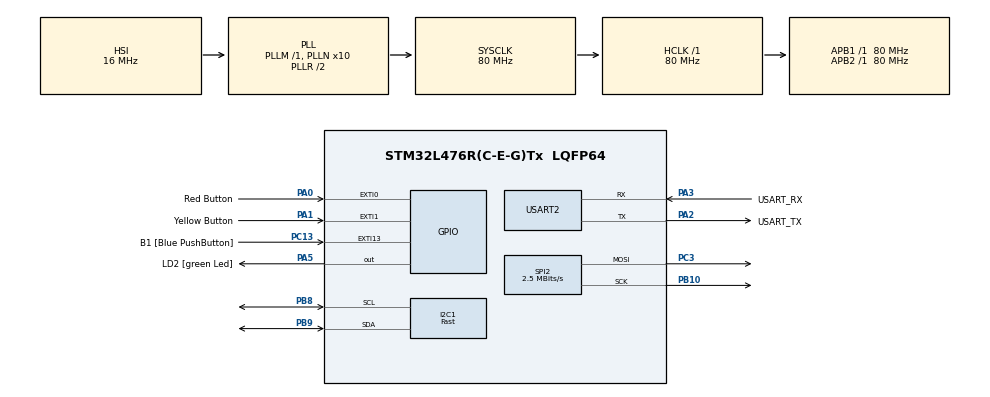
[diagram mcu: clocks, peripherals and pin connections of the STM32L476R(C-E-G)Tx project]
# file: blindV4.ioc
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Dma.Request0=SPI2_TX
Dma.SPI2_TX.0.Direction=DMA_MEMORY_TO_PERIPH
Dma.SPI2_TX.0.Instance=DMA1_Channel5
Dma.SPI2_TX.0.MemDataAlignment=DMA_MDATAALIGN_BYTE
Dma.SPI2_TX.0.MemInc=DMA_MINC_ENABLE
Dma.SPI2_TX.0.Mode=DMA_NORMAL
Dma.SPI2_TX.0.PeriphDataAlignment=DMA_PDATAALIGN_BYTE
Dma.SPI2_TX.0.PeriphInc=DMA_PINC_DISABLE
Dma.SPI2_TX.0.Priority=DMA_PRIORITY_VERY_HIGH
I2C1.I2C_Speed_Mode=I2C_Fast
I2C1.Timing=0x00702991
Mcu.Family=STM32L4
Mcu.Name=STM32L476R(C-E-G)Tx
Mcu.Package=LQFP64
NVIC.DMA1_Channel5_IRQn=true\:0\:0\:false\:false\:true\:false\:true
NVIC.EXTI0_IRQn=true\:0\:0\:false\:false\:true\:true\:true
NVIC.EXTI1_IRQn=true\:0\:0\:false\:false\:true\:true\:true
NVIC.PriorityGroup=NVIC_PRIORITYGROUP_4
PA0.GPIO_Label=Red Button
PA0.GPIO_PuPd=GPIO_PULLDOWN
PA0.Signal=GPXTI0
PA1.GPIO_Label=Yellow Button
PA1.GPIO_PuPd=GPIO_PULLDOWN
PA1.Signal=GPXTI1
PA13\ (JTMS-SWDIO).GPIO_Label=TMS
PA13\ (JTMS-SWDIO).Mode=Serial_Wire
PA13\ (JTMS-SWDIO).Signal=SYS_JTMS-SWDIO
PA14\ (JTCK-SWCLK).GPIO_Label=TCK
PA14\ (JTCK-SWCLK).Mode=Serial_Wire
PA14\ (JTCK-SWCLK).Signal=SYS_JTCK-SWCLK
PA2.GPIO_Label=USART_TX
PA2.GPIO_Mode=GPIO_MODE_AF_PP
PA2.GPIO_PuPd=GPIO_NOPULL
PA2.GPIO_Speed=GPIO_SPEED_FREQ_VERY_HIGH
PA2.Mode=Asynchronous
PA2.Signal=USART2_TX
PA3.GPIO_Label=USART_RX
PA3.GPIO_Mode=GPIO_MODE_AF_PP
PA3.GPIO_PuPd=GPIO_NOPULL
PA3.GPIO_Speed=GPIO_SPEED_FREQ_VERY_HIGH
PA3.Mode=Asynchronous
PA3.Signal=USART2_RX
PA5.GPIO_Label=LD2 [green Led]
PA5.GPIO_ModeDefaultOutputPP=GPIO_MODE_OUTPUT_PP
PA5.GPIO_PuPd=GPIO_NOPULL
PA5.GPIO_Speed=GPIO_SPEED_FREQ_LOW
PA5.Signal=GPIO_Output
PB10.Mode=TX_Only_Simplex_Unidirect_Master
PB10.Signal=SPI2_SCK
PB3\ (JTDO-TRACESWO).GPIO_Label=SWO
PB3\ (JTDO-TRACESWO).Signal=SYS_JTDO-SWO
PB8.Mode=I2C
PB8.Signal=I2C1_SCL
PB9.Mode=I2C
PB9.Signal=I2C1_SDA
PC13.GPIO_Label=B1 [Blue PushButton]
PC13.GPIO_ModeDefaultEXTI=GPIO_MODE_IT_FALLING
PC13.GPIO_PuPd=GPIO_NOPULL
PC13.Signal=GPXTI13
PC14-OSC32_IN\ (PC14).Mode=LSE-External-Oscillator
PC14-OSC32_IN\ (PC14).Signal=RCC_OSC32_IN
PC15-OSC32_OUT\ (PC15).Mode=LSE-External-Oscillator
PC15-OSC32_OUT\ (PC15).Signal=RCC_OSC32_OUT
PC3.Mode=TX_Only_Simplex_Unidirect_Master
PC3.Signal=SPI2_MOSI
PH0-OSC_IN\ (PH0).Signal=RCC_OSC_IN
PH1-OSC_OUT\ (PH1).Signal=RCC_OSC_OUT
ProjectManager.HeapSize=0x200
ProjectManager.StackSize=0x400
ProjectManager.TargetToolchain=TrueSTUDIO
RCC.ADCFreq_Value=64000000
RCC.AHBFreq_Value=80000000
RCC.APB1Freq_Value=80000000
RCC.APB1TimFreq_Value=80000000
RCC.APB2Freq_Value=80000000
RCC.APB2TimFreq_Value=80000000
RCC.CortexFreq_Value=80000000
RCC.HCLKFreq_Value=80000000
RCC.HSE_VALUE=8000000
RCC.HSI_VALUE=16000000
RCC.MSI_VALUE=4000000
RCC.PLLN=10
RCC.PLLSourceVirtual=RCC_PLLSOURCE_HSI
RCC.PREFETCH_ENABLE=1
RCC.SYSCLKFreq_VALUE=80000000
RCC.SYSCLKSource=RCC_SYSCLKSOURCE_PLLCLK
RCC.USBFreq_Value=64000000
RCC.VCOOutputFreq_Value=160000000
SPI2.BaudRatePrescaler=SPI_BAUDRATEPRESCALER_32
SPI2.CLKPhase=SPI_PHASE_2EDGE
SPI2.CLKPolarity=SPI_POLARITY_LOW
SPI2.CalculateBaudRate=2.5 MBits/s
SPI2.DataSize=SPI_DATASIZE_8BIT
SPI2.Direction=SPI_DIRECTION_2LINES
SPI2.Mode=SPI_MODE_MASTER
SPI2.VirtualType=VM_MASTER
USART2.VirtualMode-Asynchronous=VM_ASYNC
board=NUCLEO-L476RG

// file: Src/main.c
/* USER CODE BEGIN Header */
/**
  ******************************************************************************
  * @file           : main.c
  * @brief          : Main program body
  ******************************************************************************
  * @attention
  *
  * <h2><center>&copy; Copyright (c) 2019 STMicroelectronics.
  * All rights reserved.</center></h2>
  *
  * This software component is licensed by ST under BSD 3-Clause license,
  * the "License"; You may not use this file except in compliance with the
  * License. You may obtain a copy of the License at:
  *                        opensource.org/licenses/BSD-3-Clause
  *
  ******************************************************************************
  */
/* USER CODE END Header */

#include "main.h"

/* USER CODE BEGIN Includes */
#include "segments.h"
#include "leds.h"
/* USER CODE END Includes */

I2C_HandleTypeDef hi2c1;

SPI_HandleTypeDef hspi2;
DMA_HandleTypeDef hdma_spi2_tx;

UART_HandleTypeDef huart2;

/* USER CODE BEGIN PV */

int scoreRed = 0;
int scoreYellow = 0;
int redPressed = 0;
int yellowPressed = 0;

/* USER CODE END PV */

void SystemClock_Config(void);
static void MX_GPIO_Init(void);
static void MX_DMA_Init(void);
static void MX_USART2_UART_Init(void);
static void MX_I2C1_Init(void);
static void MX_SPI2_Init(void);
/* USER CODE BEGIN PFP */

void initLedColors();
void printScore();
/* USER CODE END PFP */

/* USER CODE BEGIN 0 */

void initLedColors() {
	  for(int led=0; led<4; ++led) {
		  setLedColor(0+led, 63, 0, 0);
		  setLedColor(4+led, 0, 63, 0);
		  setLedColor(8+led, 0, 0, 100);
		  setLedColor(12+led, 63, 0, 63);
		  setLedColor(16+led, 0, 63, 63);
		  setLedColor(20+led, 63, 63, 0);
	  }
}

void printScore() {
	char text[4] = {' ', ' ', ' ', ' '};
	int left = scoreRed % 9;
	int right = scoreYellow % 9;
	text[0] = '0' + left;
	text[3] = '0' + right;
	segments_print(&hi2c1, 0x70, text);
}

/* USER CODE END 0 */

int main(void)
{

  /* MCU Configuration--------------------------------------------------------*/

  /* Reset of all peripherals, Initializes the Flash interface and the Systick. */
  HAL_Init();

  /* Configure the system clock */
  SystemClock_Config();

  /* Initialize all configured peripherals */
  MX_GPIO_Init();
  MX_DMA_Init();
  MX_USART2_UART_Init();
  MX_I2C1_Init();
  MX_SPI2_Init();
  /* USER CODE BEGIN 2 */

  segments_init(&hi2c1, 0x70);
  printScore();

  /* USER CODE END 2 */

  /* Infinite loop */
  /* USER CODE BEGIN WHILE */

  resetLeds();
  initLedColors();
  updateLeds(&hspi2);

  while (1)
  {
	HAL_Delay(50);
	rotateLeds();
	updateLeds(&hspi2);

	//if (HAL_GPIO_ReadPin(GPIOA, Red_Button_Pin)) { // Red pressed
	if (redPressed) {
		++scoreRed;
		printScore();
		setAllLedsColor(63, 0, 0);
		updateLeds(&hspi2);
		HAL_Delay(2000);
		initLedColors();
		updateLeds(&hspi2);
		redPressed = 0;
		yellowPressed = 0;
	}

	//if (HAL_GPIO_ReadPin(GPIOA, Yellow_Button_Pin)) { // Yellow pressed
	if (yellowPressed) {
		++scoreYellow;
		printScore();
		setAllLedsColor(63, 63, 0);
		updateLeds(&hspi2);
		HAL_Delay(2000);
		initLedColors();
		updateLeds(&hspi2);
		redPressed = 0;
		yellowPressed = 0;
	}

    /* USER CODE END WHILE */

  }
}

void SystemClock_Config(void)
{
  RCC_OscInitTypeDef RCC_OscInitStruct = {0};
  RCC_ClkInitTypeDef RCC_ClkInitStruct = {0};
  RCC_PeriphCLKInitTypeDef PeriphClkInit = {0};

  /** Initializes the CPU, AHB and APB busses clocks
  */
  RCC_OscInitStruct.OscillatorType = RCC_OSCILLATORTYPE_HSI;
  RCC_OscInitStruct.HSIState = RCC_HSI_ON;
  RCC_OscInitStruct.HSICalibrationValue = RCC_HSICALIBRATION_DEFAULT;
  RCC_OscInitStruct.PLL.PLLState = RCC_PLL_ON;
  RCC_OscInitStruct.PLL.PLLSource = RCC_PLLSOURCE_HSI;
  RCC_OscInitStruct.PLL.PLLM = 1;
  RCC_OscInitStruct.PLL.PLLN = 10;
  RCC_OscInitStruct.PLL.PLLP = RCC_PLLP_DIV7;
  RCC_OscInitStruct.PLL.PLLQ = RCC_PLLQ_DIV2;
  RCC_OscInitStruct.PLL.PLLR = RCC_PLLR_DIV2;
  if (HAL_RCC_OscConfig(&RCC_OscInitStruct) != HAL_OK)
  {
    Error_Handler();
  }
  /** Initializes the CPU, AHB and APB busses clocks
  */
  RCC_ClkInitStruct.ClockType = RCC_CLOCKTYPE_HCLK|RCC_CLOCKTYPE_SYSCLK
                              |RCC_CLOCKTYPE_PCLK1|RCC_CLOCKTYPE_PCLK2;
  RCC_ClkInitStruct.SYSCLKSource = RCC_SYSCLKSOURCE_PLLCLK;
  RCC_ClkInitStruct.AHBCLKDivider = RCC_SYSCLK_DIV1;
  RCC_ClkInitStruct.APB1CLKDivider = RCC_HCLK_DIV1;
  RCC_ClkInitStruct.APB2CLKDivider = RCC_HCLK_DIV1;

  if (HAL_RCC_ClockConfig(&RCC_ClkInitStruct, FLASH_LATENCY_4) != HAL_OK)
  {
    Error_Handler();
  }
  PeriphClkInit.PeriphClockSelection = RCC_PERIPHCLK_USART2|RCC_PERIPHCLK_I2C1;
  PeriphClkInit.Usart2ClockSelection = RCC_USART2CLKSOURCE_PCLK1;
  PeriphClkInit.I2c1ClockSelection = RCC_I2C1CLKSOURCE_PCLK1;
  if (HAL_RCCEx_PeriphCLKConfig(&PeriphClkInit) != HAL_OK)
  {
    Error_Handler();
  }
  /** Configure the main internal regulator output voltage
  */
  if (HAL_PWREx_ControlVoltageScaling(PWR_REGULATOR_VOLTAGE_SCALE1) != HAL_OK)
  {
    Error_Handler();
  }
}

static void MX_I2C1_Init(void)
{

  hi2c1.Instance = I2C1;
  hi2c1.Init.Timing = 0x00702991;
  hi2c1.Init.OwnAddress1 = 0;
  hi2c1.Init.AddressingMode = I2C_ADDRESSINGMODE_7BIT;
  hi2c1.Init.DualAddressMode = I2C_DUALADDRESS_DISABLE;
  hi2c1.Init.OwnAddress2 = 0;
  hi2c1.Init.OwnAddress2Masks = I2C_OA2_NOMASK;
  hi2c1.Init.GeneralCallMode = I2C_GENERALCALL_DISABLE;
  hi2c1.Init.NoStretchMode = I2C_NOSTRETCH_DISABLE;
  if (HAL_I2C_Init(&hi2c1) != HAL_OK)
  {
    Error_Handler();
  }
  /** Configure Analogue filter
  */
  if (HAL_I2CEx_ConfigAnalogFilter(&hi2c1, I2C_ANALOGFILTER_ENABLE) != HAL_OK)
  {
    Error_Handler();
  }
  /** Configure Digital filter
  */
  if (HAL_I2CEx_ConfigDigitalFilter(&hi2c1, 0) != HAL_OK)
  {
    Error_Handler();
  }

}

static void MX_SPI2_Init(void)
{

  /* SPI2 parameter configuration*/
  hspi2.Instance = SPI2;
  hspi2.Init.Mode = SPI_MODE_MASTER;
  hspi2.Init.Direction = SPI_DIRECTION_2LINES;
  hspi2.Init.DataSize = SPI_DATASIZE_8BIT;
  hspi2.Init.CLKPolarity = SPI_POLARITY_LOW;
  hspi2.Init.CLKPhase = SPI_PHASE_2EDGE;
  hspi2.Init.NSS = SPI_NSS_SOFT;
  hspi2.Init.BaudRatePrescaler = SPI_BAUDRATEPRESCALER_32;
  hspi2.Init.FirstBit = SPI_FIRSTBIT_MSB;
  hspi2.Init.TIMode = SPI_TIMODE_DISABLE;
  hspi2.Init.CRCCalculation = SPI_CRCCALCULATION_DISABLE;
  hspi2.Init.CRCPolynomial = 7;
  hspi2.Init.CRCLength = SPI_CRC_LENGTH_DATASIZE;
  hspi2.Init.NSSPMode = SPI_NSS_PULSE_DISABLE;
  if (HAL_SPI_Init(&hspi2) != HAL_OK)
  {
    Error_Handler();
  }

}

static void MX_USART2_UART_Init(void)
{

  huart2.Instance = USART2;
  huart2.Init.BaudRate = 115200;
  huart2.Init.WordLength = UART_WORDLENGTH_8B;
  huart2.Init.StopBits = UART_STOPBITS_1;
  huart2.Init.Parity = UART_PARITY_NONE;
  huart2.Init.Mode = UART_MODE_TX_RX;
  huart2.Init.HwFlowCtl = UART_HWCONTROL_NONE;
  huart2.Init.OverSampling = UART_OVERSAMPLING_16;
  huart2.Init.OneBitSampling = UART_ONE_BIT_SAMPLE_DISABLE;
  huart2.AdvancedInit.AdvFeatureInit = UART_ADVFEATURE_NO_INIT;
  if (HAL_UART_Init(&huart2) != HAL_OK)
  {
    Error_Handler();
  }

}

static void MX_DMA_Init(void)
{
  /* DMA controller clock enable */
  __HAL_RCC_DMA1_CLK_ENABLE();

  /* DMA interrupt init */
  /* DMA1_Channel5_IRQn interrupt configuration */
  HAL_NVIC_SetPriority(DMA1_Channel5_IRQn, 0, 0);
  HAL_NVIC_EnableIRQ(DMA1_Channel5_IRQn);

}

static void MX_GPIO_Init(void)
{
  GPIO_InitTypeDef GPIO_InitStruct = {0};

  /* GPIO Ports Clock Enable */
  __HAL_RCC_GPIOC_CLK_ENABLE();
  __HAL_RCC_GPIOH_CLK_ENABLE();
  __HAL_RCC_GPIOA_CLK_ENABLE();
  __HAL_RCC_GPIOB_CLK_ENABLE();

  /*Configure GPIO pin Output Level */
  HAL_GPIO_WritePin(LD2_GPIO_Port, LD2_Pin, GPIO_PIN_RESET);

  /*Configure GPIO pin : B1_Pin */
  GPIO_InitStruct.Pin = B1_Pin;
  GPIO_InitStruct.Mode = GPIO_MODE_IT_FALLING;
  GPIO_InitStruct.Pull = GPIO_NOPULL;
  HAL_GPIO_Init(B1_GPIO_Port, &GPIO_InitStruct);

  /*Configure GPIO pins : Red_Button_Pin Yellow_Button_Pin */
  GPIO_InitStruct.Pin = Red_Button_Pin|Yellow_Button_Pin;
  GPIO_InitStruct.Mode = GPIO_MODE_IT_RISING;
  GPIO_InitStruct.Pull = GPIO_PULLDOWN;
  HAL_GPIO_Init(GPIOA, &GPIO_InitStruct);

  /*Configure GPIO pin : LD2_Pin */
  GPIO_InitStruct.Pin = LD2_Pin;
  GPIO_InitStruct.Mode = GPIO_MODE_OUTPUT_PP;
  GPIO_InitStruct.Pull = GPIO_NOPULL;
  GPIO_InitStruct.Speed = GPIO_SPEED_FREQ_LOW;
  HAL_GPIO_Init(LD2_GPIO_Port, &GPIO_InitStruct);

  /* EXTI interrupt init*/
  HAL_NVIC_SetPriority(EXTI0_IRQn, 0, 0);
  HAL_NVIC_EnableIRQ(EXTI0_IRQn);

  HAL_NVIC_SetPriority(EXTI1_IRQn, 0, 0);
  HAL_NVIC_EnableIRQ(EXTI1_IRQn);

}

/* USER CODE BEGIN 4 */
/**
  * @brief EXTI line detection callbacks
  * @param GPIO_Pin: Specifies the pins connected EXTI line
  * @retval None
  */
void HAL_GPIO_EXTI_Callback(uint16_t GPIO_Pin) {
  if (GPIO_Pin == Red_Button_Pin) {
	  if (!yellowPressed) {
		  redPressed = 1;
	  }
  } else if (GPIO_Pin == Yellow_Button_Pin) {
	  if (!redPressed) {
		  yellowPressed = 1;
	  }
  }
}

/* USER CODE END 4 */

void Error_Handler(void)
{
}

/************************ (C) COPYRIGHT STMicroelectronics *****END OF FILE****/
